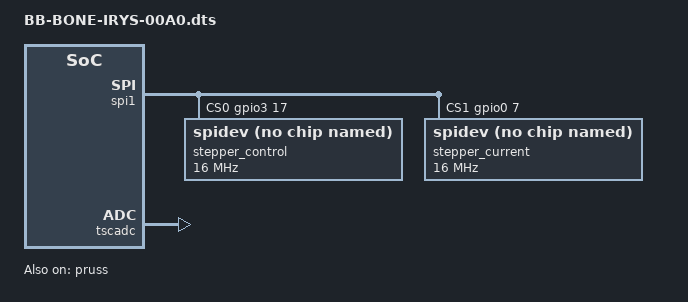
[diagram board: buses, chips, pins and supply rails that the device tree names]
/*
 * Copyright (C) 2013 Intelligent Agent AS	<elias@iagent.no>
 *
 * This program is free software; you can redistribute it and/or modify
 * it under the terms of the GNU General Public License version 2 as
 * published by the Free Software Foundation.
 */


/dts-v1/;
/plugin/;

/ {
    compatible = "ti,beaglebone", "ti,beaglebone-black";

    /* identification */
    part-number = "BB-BONE-IRYS";
    version = "00A0";

    /* state the resources this cape uses */
    exclusive-use =
        /* the pin header P8 uses */
	"P8.39", /* Motor Left Direction*/
	"pr1_pru1_pru_r30_6",
	"P8.40", /* Motor Left Step	*/
	"pr1_pru_pru1_r30_7",
	"P8.41", /* Motor Left M0	*/
	"pr1_pru1_pru_r30_4",
	"P8.42", /* Motor Left M1	*/
	"pr1_pru1_pru_r30_5",
	"P8.43", /* Motor Right Direction*/
	"pr1_pru1_pru_r30_2",
	"P8.44", /* Motor Right Step	*/
	"pr1_pru1_pru_r30_3",
	"P8.45", /* Motor Right M0	*/
	"pr1_pru1_pru_r30_0",
	"P8.46", /* Motor Right M1	*/
	"pr1_pru1_pru_r30_1",
	"P8.12", /* Sonar Trigger 	*/
	"P8.11", /* Sonar 1 Echo	*/
	"P8.14", /* Sonar 2 Echo	*/
	"P8.15", /* Sonar 3 Echo	*/

        /* the pin header P9 uses */
	"P9.14", /* Motor Right Enable 	*/
	"P9.15", /* Motor Left Enable	*/
        "P9.28", /* SPI1_CS0 	*/
        "P9.29", /* SPI1_MISO   */
        "P9.30", /* SPI1_MOSI	*/
        "P9.31", /* SPI1_SCLK	*/
        "P9.33", /* AIN4        */
        "P9.35", /* AIN6        */
        "P9.36", /* AIN5        */
        "P9.42"; /* SPI1_CS1	*/

    fragment@0 {
        target = <&am33xx_pinmux>;
        __overlay__ {
            bone_spi1_pins: pinmux_spi1_pins {
                pinctrl-single,pins = <
                    0x190 0x13	/* P9_31 = mcasp0_aclkx.spi1_sclk				 , OUTPUT_PULLUP | MODE3 */
                    0x194 0x33	/* P9_29 = mcasp0_fsx.spi1_d0					 , INPUT_PULLUP  | MODE3 */
                    0x198 0x13	/* P9_30 = mcasp0_axr0.spi1_d1					 , OUTPUT_PULLUP | MODE3 */
                    0x19c 0x13	/* P9_28 = mcasp0_ahclkr.spi1_cs0				 , OUTPUT_PULLUP | MODE3 */					
                    0x164 0x12  /* P9_42 = GPIO0_7 =  eCAP0_in_PWM0_out.gpio0[7] , OUTPUT_PULLUP | MODE2 */
                >;
            };					
            pruicss_irys_pins: pinmux_pruicss_irys_pins{
                pinctrl-single,pins = <
			0x0b8 0xd // P8_39 = Motor Left Direction 	= 6	
		    	0x0bc 0xd // P8_40 = Motor Left Step	 	= 7
			0x0b0 0xd // P8_41 = Motor Left M0	 	= 4
		    	0x0b4 0xd // P8_42 = Motor Left M1	 	= 5
			0x0a8 0xd // P8_43 = Motor Right Direction  	= 2
			0x0ac 0xd // P8_44 = Motor Right Step	 	= 3
			0x0a0 0xd // P8_45 = Motor Right M0  		= 0
			0x0a4 0xd // P8_46 = Motor Right M1	  	= 1
			0x030 0x7 // P8_12 = Sonar Trigger	 	
			0x034 0x27 // P8_11 = Sonar 1 Echo	  	
			0x028 0x27 // P8_14 = Sonar 2 Echo	 	
			0x03c 0x27 // P8_15 = Sonar 3 Echo	  	
                >;
            };	

            gpio_irys_pins: pinmux_gpio_irys_pins{
                pinctrl-single,pins = <
			0x048 0x07 // P9_14 = Motor Right Enable  	= GPIO0_50
			0x040 0x07 // P9_15 = Motor Left Enable 	= GPIO1_48
                >;
            };
        };
    };

    fragment@1 {
        target = <&spi1>;
        __overlay__ {
            #address-cells 	= <1>;
            #size-cells 	= <0>;
            status			= "okay";
            pinctrl-names	= "default";
            pinctrl-0		= <&bone_spi1_pins>;	
            cs-gpios 		= <&gpio3 17 0>, <&gpio0 7 0>;

            stepper_control{
                #address-cells 	  = <1>;
                #size-cells 	  = <0>;
                compatible 		  = "spidev";
                reg 			  = <0>;
                spi-max-frequency = <16000000>;
                spi-cpha;		  // Stepper control has mode 1 (CPOL = 0, CPHA = 1)
            };

            stepper_current{
                #address-cells 	  = <1>;
                #size-cells 	  = <0>;
                compatible 		  = "spidev";
                reg 			  = <1>;
                spi-max-frequency = <16000000>;
                   				  // Stepper current has mode 0 (CPOL = 0, CPHA = 0)
            };
        };
    };

    fragment@2{
        target = <&pruss>;
        __overlay__{
            status = "okay";
            pinctrl-names = "default";
            pinctrl-0 	  = <&pruicss_irys_pins>;
        };
    };


    fragment@3 {
        target = <&tscadc>;
        __overlay__ {			
            status = "okay";
            adc {
                ti,adc-channels = <4 5 6 7>;
            };
        };
    };
};
